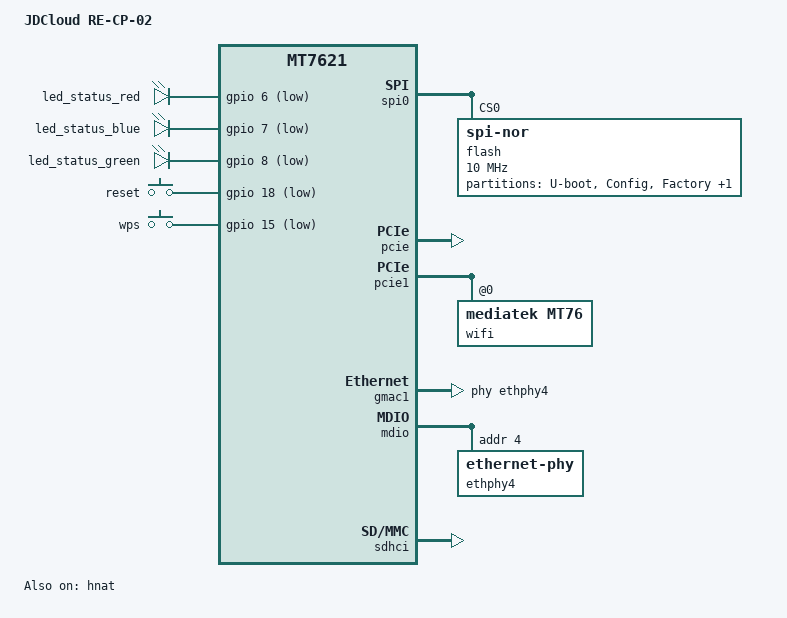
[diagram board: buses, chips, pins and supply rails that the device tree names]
// SPDX-License-Identifier: GPL-2.0-or-later

#include "mt7621.dtsi"

#include <dt-bindings/gpio/gpio.h>
#include <dt-bindings/input/input.h>

/ {
	compatible = "jdcloud,re-cp-02", "mediatek,mt7621-soc";
	model = "JDCloud RE-CP-02";

	aliases {
		label-mac-device = &gmac0;
		led-boot = &led_status_blue;
		led-failsafe = &led_status_red;
		led-running = &led_status_green;
		led-upgrade = &led_status_blue;
	};

	chosen {
		bootargs = "console=ttyS0,115200";
	};

    leds {
		compatible = "gpio-leds";

		led_status_red: led-0 {
			color = "red:status";
			gpios = <&gpio 6 GPIO_ACTIVE_LOW>;
		};

		led_status_blue: led-1 {
			color = "blue:status";
			gpios = <&gpio 7 GPIO_ACTIVE_LOW>;
		};

		led_status_green: led-2 {
			color = "green:status";
			gpios = <&gpio 8 GPIO_ACTIVE_LOW>;
		};
	};
    
	keys {
		compatible = "gpio-keys";

		reset {
			label = "reset";
			gpios = <&gpio 18 GPIO_ACTIVE_LOW>;
			linux,code = <KEY_RESTART>;
		};

		wps {
			label = "wps";
			gpios = <&gpio 15 GPIO_ACTIVE_LOW>;
			linux,code = <KEY_WPS_BUTTON>;
		};
	};
};

&spi0 {
	status = "okay";

	flash@0 {
		compatible = "jedec,spi-nor";
		reg = <0>;
		spi-max-frequency = <10000000>;

		partitions {
			compatible = "fixed-partitions";
			#address-cells = <1>;
			#size-cells = <1>;

			partition@0 {
				label = "U-boot";
				reg = <0x0 0x40000>;
				read-only;
			};

			partition@40000 {
				label = "Config";
				reg = <0x40000 0x10000>;
			};

			partition@50000 {
				label = "Factory";
				reg = <0x50000 0x40000>;
				read-only;

				nvmem-layout {
					compatible = "fixed-layout";
					#address-cells = <1>;
					#size-cells = <1>;

					eeprom_factory_0: eeprom@0 {
						reg = <0x0 0xe00>;
					};

					macaddr_factory_3fff4: macaddr@3fff4 {
						reg = <0x3fff4 0x6>;
					};

					macaddr_factory_3fffa: macaddr@3fffa {
						reg = <0x3fffa 0x6>;
					};
				};
			};

			partition@90000 {
				compatible = "denx,uimage";
				label = "firmware";
				reg = <0x90000 0xf70000>;
			};
		};
	};
};

&pcie {
	status = "okay";
};

&pcie1 {
	wifi@0,0 {
		compatible = "mediatek,mt76";
		reg = <0x0000 0 0 0 0>;
		nvmem-cells = <&eeprom_factory_0>;
		nvmem-cell-names = "eeprom";
		mediatek,disable-radar-background;
	};
};

&gmac0 {
	nvmem-cells = <&macaddr_factory_3fff4>;
	nvmem-cell-names = "mac-address";
};

&gmac1 {
	status = "okay";
	label = "wan";
	phy-handle = <&ethphy4>;

	nvmem-cells = <&macaddr_factory_3fffa>;
	nvmem-cell-names = "mac-address";
};

&mdio {
	ethphy4: ethernet-phy@4 {
		reg = <4>;
	};
};

&gsw {
		mediatek,mdio = <&mdio>;
		mediatek,portmap = "llllw";
		mediatek,mcm;
		mt7530,direct-phy-access;

		resets = <&rstctrl 2>;
		reset-names = "mcm";

		port5: port@5 {
				compatible = "mediatek,mt753x-port";
				reg = <5>;
				phy-mode = "rgmii";
				fixed-link {
						speed = <1000>;
						full-duplex;
				};
		};

		port6: port@6 {
				compatible = "mediatek,mt753x-port";
				reg = <6>;
				phy-mode = "rgmii";
				fixed-link {
						speed = <1000>;
						full-duplex;
				};
		};

		mdio-bus {
				#address-cells = <1>;
				#size-cells = <0>;
		};
};

&switch0 {
		/* must delete compatible property */
		/delete-property/ compatible;
};

&sdhci {
	status = "okay";
};

&hnat {
		mtketh-wan = "eth1";
		mtketh-ppd = "eth0";
		mtketh-lan = "eth0";
		ext-devices = "wlan0","wlan1","rax0","ra0", "rai0","apclii0","apclix0", "apcli0";
		mtketh-max-gmac = <2>;
		status = "okay";
};

&state_default {
	gpio {
		groups = "i2c";
		function = "gpio";
	};
};

&xhci {
	status = "disabled";
};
